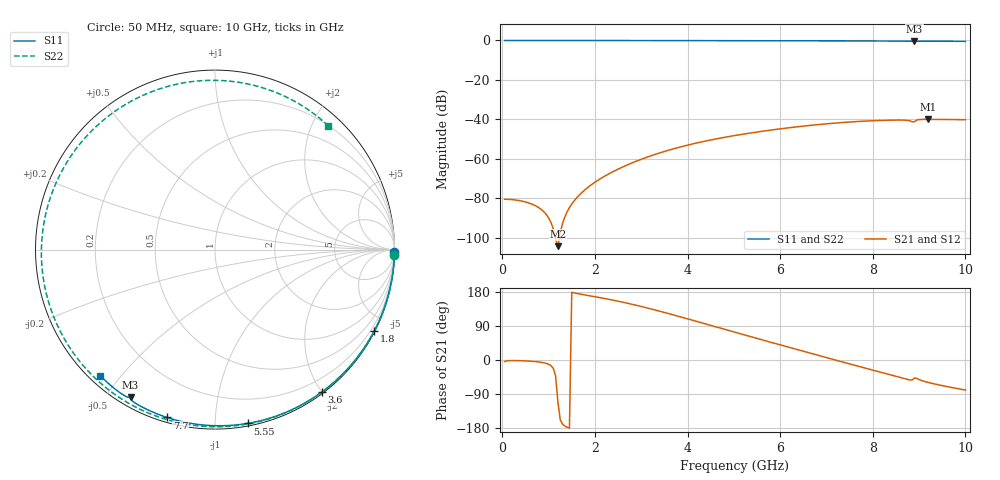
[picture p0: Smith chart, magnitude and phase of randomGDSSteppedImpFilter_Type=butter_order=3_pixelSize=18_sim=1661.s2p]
! freq	dB(S11)	phase(S11)	dB(S12)	phase(S12)
!  dB(S21)	phase(S21)	dB(S22)	phase(S22)
!S-par simulation data
#  GHz  S  DB  R 50
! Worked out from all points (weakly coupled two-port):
!   200 points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, 50 MHz to 10 GHz, reference 50 ohm
!   highest |S21| = -39.95 dB at 9.2 GHz (marker M1); lowest = -104.2 dB at 1.2 GHz (marker M2)
!   lowest |S11| = -0.5 dB at 8.9 GHz (marker M3), VSWR 36.51, Z = 1.83 - j29 ohm
!   |S11| at or under -10 dB: nowhere
!   |S22| runs from -0.6 to 0.0 dB; largest |S21 - S12| = 0
!   S11 on the Smith chart (normalised r, x): 50 MHz: open; 1.8 GHz: 0.04, -4.13; 3.6 GHz: 0.02, -2.00; 5.55 GHz: 0.02, -1.21; 7.7 GHz: 0.02, -0.75; 10 GHz: 0.03, -0.44
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0.05  -0.00 -0.8  -80.38 -3.8  -80.38 -3.8  -0.00 -1.7
0.6  -0.01 -9.2  -82.49 -3.0  -82.49 -3.0  -0.01 -19.9
1.2  -0.02 -18.2  -104.15 -109.7  -104.15 -109.7  -0.05 -39.5
1.6  -0.03 -24.2  -79.84 175.8  -79.84 175.8  -0.07 -52.2
1.75  -0.03 -26.5  -76.32 172.4  -76.32 172.4  -0.07 -56.8
1.8  -0.03 -27.2  -75.31 171.3  -75.31 171.3  -0.07 -58.4
2.45  -0.05 -36.7  -65.73 156.5  -65.73 156.5  -0.10 -78.2
3.4  -0.07 -50.4  -56.93 128.7  -56.93 128.7  -0.13 -105.7
3.6  -0.07 -53.2  -55.51 122.2  -55.51 122.2  -0.14 -111.3
4.3  -0.09 -62.8  -51.37 98.2  -51.37 98.2  -0.18 -130.6
5.05  -0.11 -72.8  -48.01 72.2  -48.01 72.2  -0.22 -151.0
5.55  -0.13 -79.4  -46.19 55.2  -46.19 55.2  -0.25 -164.7
6.15  -0.15 -87.0  -44.32 34.9  -44.32 34.9  -0.29 178.6
6.7  -0.18 -93.8  -42.88 16.4  -42.88 16.4  -0.34 162.7
7.2  -0.21 -99.9  -41.81 -0.4  -41.81 -0.4  -0.38 147.5
7.7  -0.24 -105.9  -41.00 -16.9  -41.00 -16.9  -0.42 131.6
8.35  -0.29 -113.6  -40.37 -37.8  -40.37 -37.8  -0.47 109.6
8.9  -0.48 -119.8  -41.12 -47.5  -41.12 -47.5  -0.51 89.8
9  -0.40 -120.7  -40.05 -51.6  -40.05 -51.6  -0.52 86.0
9.2  -0.38 -123.1  -39.95 -59.4  -39.95 -59.4  -0.53 78.5
9.6  -0.41 -127.8  -40.01 -70.1  -40.01 -70.1  -0.56 63.1
10  -0.45 -132.3  -40.12 -79.3  -40.12 -79.3  -0.59 47.5
